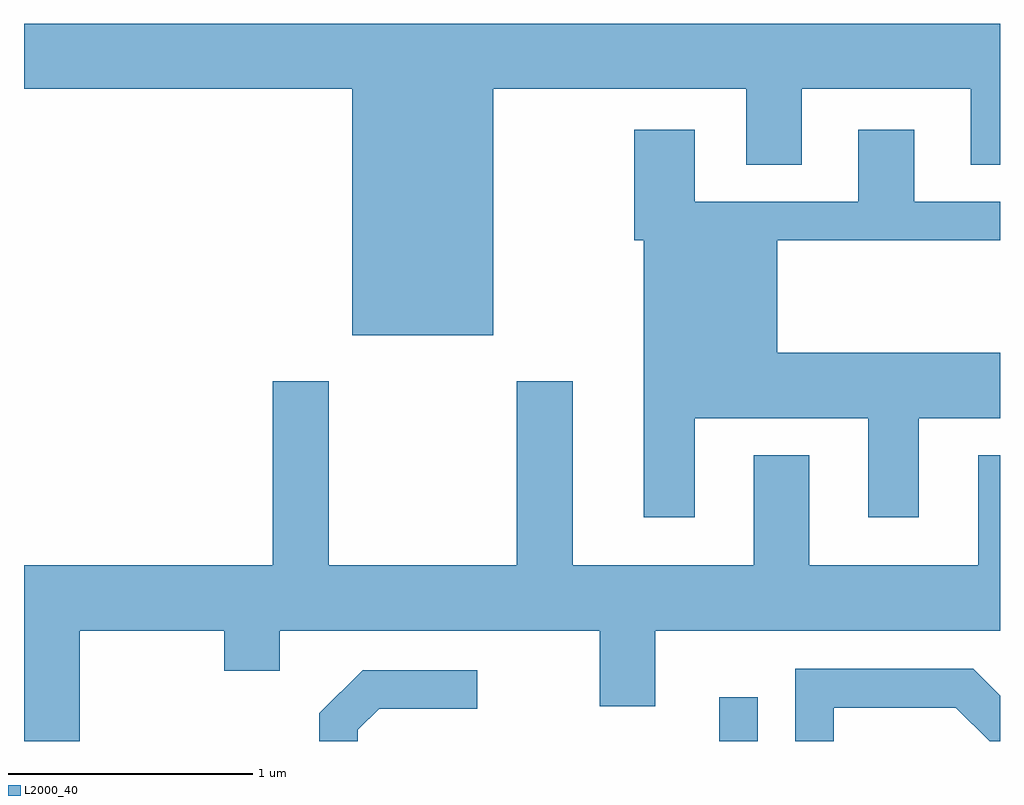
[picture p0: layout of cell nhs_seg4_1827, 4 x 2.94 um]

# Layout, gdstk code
import gdstk
lib = gdstk.Library(unit=1e-6, precision=1e-09)
def R(c, l, rs):  # rectangles x0, y0, x1, y1
    for r in rs: c.add(gdstk.rectangle(r[:2], r[2:], *l))
def P(c, l, *ps):  # polygons
    for p in ps: c.add(gdstk.Polygon(p, *l))
L2000_40 = (2000, 40)

nhs_seg4_1827 = lib.new_cell('nhs_seg4_1827')
R(nhs_seg4_1827, L2000_40, [(240.461,1371.982,240.619,1372.163)])
P(nhs_seg4_1827, L2000_40, [(239.534,1374.656),(240.571,1374.656),(240.571,1374.346),(240.799,1374.346),(240.799,1374.656),(241.491,1374.656),(241.491,1374.346),(241.611,1374.346),(241.611,1374.924),(237.611,1374.924),(237.611,1374.656),(238.956,1374.656),(238.956,1373.646),(239.534,1373.646)],
  [(240.359,1373.306),(241.071,1373.306),(241.071,1372.901),(241.279,1372.901),(241.279,1373.306),(241.611,1373.306),(241.611,1373.574),(240.699,1373.574),(240.699,1374.036),(241.611,1374.036),(241.611,1374.194),(241.259,1374.194),(241.259,1374.489),(241.031,1374.489),(241.031,1374.194),(240.359,1374.194),(240.359,1374.489),(240.111,1374.489),(240.111,1374.036),(240.151,1374.036),(240.151,1372.901),(240.359,1372.901)],
  [(239.859,1373.459),(239.631,1373.459),(239.631,1372.704),(238.859,1372.704),(238.859,1373.459),(238.631,1373.459),(238.631,1372.704),(237.611,1372.704),(237.611,1371.982),(237.839,1371.982),(237.839,1372.436),(238.431,1372.436),(238.431,1372.271),(238.659,1372.271),(238.659,1372.436),(239.971,1372.436),(239.971,1372.126),(240.199,1372.126),(240.199,1372.436),(241.611,1372.436),(241.611,1373.154),(241.521,1373.154),(241.521,1372.704),(240.829,1372.704),(240.829,1373.154),(240.601,1373.154),(240.601,1372.704),(239.859,1372.704)],
  [(240.929,1372.121),(241.429,1372.121),(241.568,1371.982),(241.611,1371.982),(241.611,1372.17),(241.502,1372.279),(240.771,1372.279),(240.771,1371.982),(240.929,1371.982)],
  [(238.979,1372.029),(239.067,1372.116),(239.468,1372.116),(239.468,1372.274),(238.999,1372.274),(238.821,1372.097),(238.821,1371.982),(238.979,1371.982)])

lib.write_gds('nhs_seg4_1827.gds')
